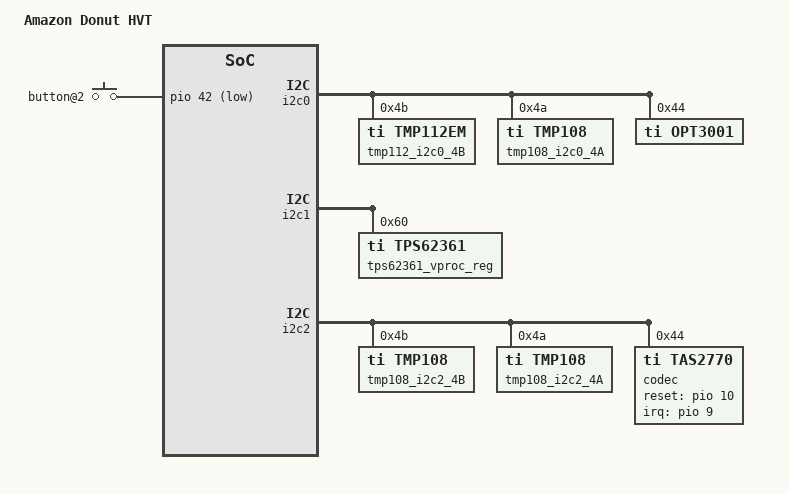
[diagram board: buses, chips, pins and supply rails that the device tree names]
/dts-v1/;

#include "donut.dtsi"

/ {
	model = "Amazon Donut HVT";
	compatible = "amzn,donut-hvt", "amzn,donut";

};

&gpio_keys {
	button@2 {
		gpios = <&pio 42 1>;
	};
};

&i2c0 {
	tmp112_i2c0_4B: tmp112@4B {
		compatible = "ti,tmp112em";
		#thermal-sensor-cells = <0>;
		reg = <0x4B>;
	};

	tmp108_i2c0_4A: tmp108@4A {
		compatible = "ti,tmp108";
		#thermal-sensor-cells = <0>;
		reg = <0x4A>;
	};

	opt3001@44 {
		compatible = "ti,opt3001";
		reg = <0x44>;
	};
};

&i2c1 {
	tps62361_vproc_reg: tps62361_buck@60 {
		compatible = "ti,tps62361";
		reg = <0x60>;
		regulator-name = "tps62361b";
		regulator-min-microvolt = <300000>;
		regulator-max-microvolt = <1300000>;
		regulator-always-on;
		ti,vsel1-state-high;
	};
};

&i2c2 {
	tmp108_i2c2_4B: tmp108@4B {
		compatible = "ti,tmp108";
		#thermal-sensor-cells = <0>;
		reg = <0x4B>;
	};

	tmp108_i2c2_4A: tmp108@4A {
		compatible = "ti,tmp108";
		#thermal-sensor-cells = <0>;
		reg = <0x4A>;
	};

	codec: tas2770@44 {
		compatible = "ti,tas2770";
		reg = <0x44>;
		ti,reset-gpio = <&pio 10 0>;
		ti,irq-gpio = <&pio 9 0>;
		ti,asi-format = <0>; /* 0, i2S; 1, DSP;  */
		ti,ppg = <0>; /* 0, 0dB default; 1， enable -2dB */
		status = "ok";
	};
};
/delete-node/ &issi_8ch;

/* Replace Richtek RT5738 sys buck with TI TPS62361 */
/delete-node/ &rt5748_vproc_reg;
&ptp_od {
	vproc-supply = <&tps62361_vproc_reg>;
};

&cpu0 {
	proc-supply = <&tps62361_vproc_reg>;
};

&cpu1 {
	proc-supply = <&tps62361_vproc_reg>;
};

&cpu2 {
	proc-supply = <&tps62361_vproc_reg>;
};

&cpu3 {
	proc-supply = <&tps62361_vproc_reg>;
};

#include "donut_thermal_zones.dtsi"
